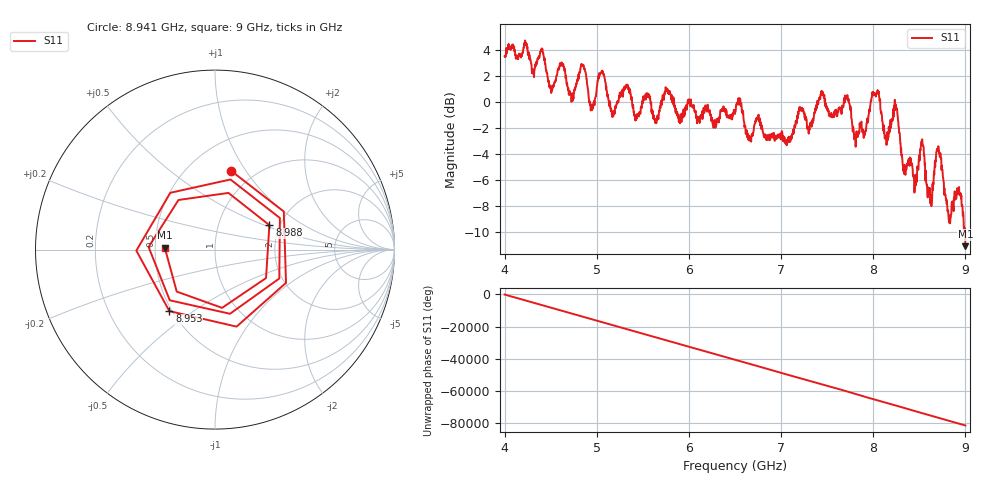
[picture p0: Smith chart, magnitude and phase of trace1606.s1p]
! Created with skrf 1.8.0 (http://scikit-rf.org).
# Hz S RI R 50.0
!freq ReS11 ImS11
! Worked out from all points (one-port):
!   1601 points, 4 GHz to 9 GHz, reference 50 ohm
!   lowest |S11| = -11.1 dB at 9 GHz (marker M1), VSWR 1.78, Z = 28.1 + j0.689 ohm
!   |S11| at or under -10 dB: 8.997026 GHz to end of sweep
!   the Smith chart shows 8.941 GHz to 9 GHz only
!   S11 on the Smith chart (normalised r, x): 8.941 GHz: 0.78, +0.86; 8.953 GHz: 0.48, -0.41; 8.988 GHz: 1.76, +0.54; 9 GHz: 0.56, +0.01
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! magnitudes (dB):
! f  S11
! 4 GHz  3.5
! 4.409 GHz  4.1
! 4.509 GHz  0.9
! 4.625 GHz  2.8
! 4.722 GHz  0.5
! 4.847 GHz  2.8
! 4.941 GHz  -0.2
! 5.05 GHz  2.3
! 5.172 GHz  -0.7
! 5.25 GHz  0.7
! 5.875 GHz  -1.1
! 6.5 GHz  -0.9
! 7.125 GHz  -2.4
! 7.444 GHz  0.8
! 7.75 GHz  -0.5
! 7.819 GHz  -2.2
! 8.041 GHz  0.8
! 8.141 GHz  -3.0
! 8.244 GHz  -0.2
! 8.375 GHz  -4.8
! 8.531 GHz  -2.9
! 8.612 GHz  -6.6
! 8.709 GHz  -3.4
! 8.822 GHz  -9.2
! 8.941 GHz  -7.0
! 8.953 GHz  -7.4
! 8.988 GHz  -9.6
! 9 GHz  -11.1
